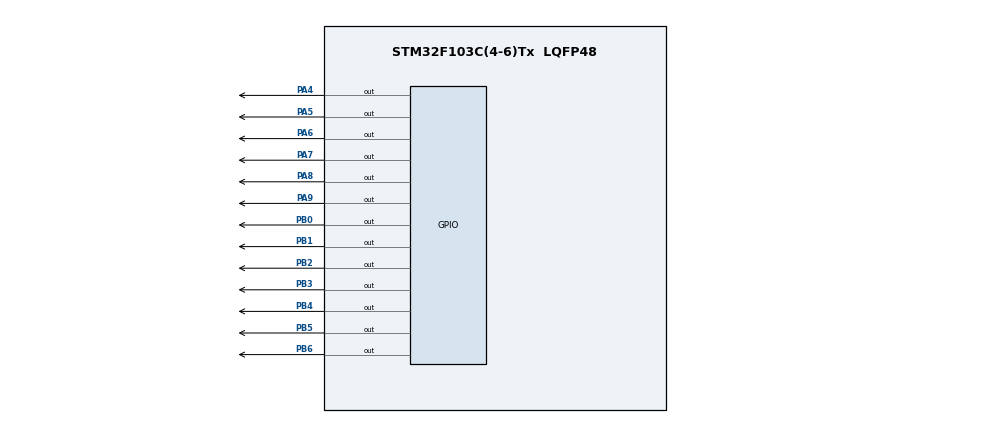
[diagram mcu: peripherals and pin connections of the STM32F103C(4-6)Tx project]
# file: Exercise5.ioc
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Mcu.Family=STM32F1
Mcu.Name=STM32F103C(4-6)Tx
Mcu.Package=LQFP48
NVIC.PriorityGroup=NVIC_PRIORITYGROUP_4
NVIC.TIM2_IRQn=true\:0\:0\:false\:false\:true\:true\:true
PA13.Mode=Serial_Wire
PA13.Signal=SYS_JTMS-SWDIO
PA14.Mode=Serial_Wire
PA14.Signal=SYS_JTCK-SWCLK
PA4.Signal=GPIO_Output
PA5.Signal=GPIO_Output
PA6.Signal=GPIO_Output
PA7.Signal=GPIO_Output
PA8.Signal=GPIO_Output
PA9.Signal=GPIO_Output
PB0.Signal=GPIO_Output
PB1.Signal=GPIO_Output
PB2.Signal=GPIO_Output
PB3.Signal=GPIO_Output
PB4.Signal=GPIO_Output
PB5.Signal=GPIO_Output
PB6.Signal=GPIO_Output
PD0-OSC_IN.Mode=HSE-External-Oscillator
PD0-OSC_IN.Signal=RCC_OSC_IN
PD1-OSC_OUT.Mode=HSE-External-Oscillator
PD1-OSC_OUT.Signal=RCC_OSC_OUT
ProjectManager.HeapSize=0x200
ProjectManager.StackSize=0x400
ProjectManager.TargetToolchain=STM32CubeIDE
RCC.APB1Freq_Value=8000000
RCC.APB2Freq_Value=8000000
TIM2.Period=9
TIM2.Prescaler=7999
VP_TIM2_VS_ClockSourceINT.Mode=Internal
board=custom

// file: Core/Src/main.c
/* USER CODE BEGIN Header */
/**
  ******************************************************************************
  * @file           : main.c
  * @brief          : Main program body
  ******************************************************************************
  * @attention
  *
  * <h2><center>&copy; Copyright (c) 2021 STMicroelectronics.
  * All rights reserved.</center></h2>
  *
  * This software component is licensed by ST under BSD 3-Clause license,
  * the "License"; You may not use this file except in compliance with the
  * License. You may obtain a copy of the License at:
  *                        opensource.org/licenses/BSD-3-Clause
  *
  ******************************************************************************
  */
/* USER CODE END Header */
#include "main.h"

TIM_HandleTypeDef htim2;

void SystemClock_Config(void);
static void MX_GPIO_Init(void);
static void MX_TIM2_Init(void);

/* USER CODE BEGIN 0 */
//g f e d c b a => PB6 PB5 PB4 PB3 PB2 PB1 PB0
int nums[10] = {
		0x40,				//0
		0x79, 				//1
		0x24,				//2
		0x30,				//3
		0x19,				//4
		0x12,				//5
		0x02,				//6
		0x70,				//7
		0x00,				//8
		0x10};				//9
//Số LED 7SEG tối đa
const int MAX_LED = 4;
//Mảng để ch�?n led nào hiển thị
int enable[4] = {0xE, 0xD, 0xB, 0x7};
//Mảng chứa số sẽ hiện trên các LED 7 SEG
int led_buffer[4] = {5, 2, 8, 9};
int hour = 15, minute = 8, second = 50;
//Hiển thị số trên LED 7 đoạn bằng bằng truy�?n vào số ở dãy nums
//Sau đó lấy từng bit rồi viết vào trong PIN
//Bằng cách dịch từng bit và and với 1;
void display7SEG(int count){
	HAL_GPIO_WritePin(GPIOB, GPIO_PIN_0, (count>>0 & 0x1));
	HAL_GPIO_WritePin(GPIOB, GPIO_PIN_1, (count>>1 & 0x1));
	HAL_GPIO_WritePin(GPIOB, GPIO_PIN_2, (count>>2 & 0x1));
	HAL_GPIO_WritePin(GPIOB, GPIO_PIN_3, (count>>3 & 0x1));
	HAL_GPIO_WritePin(GPIOB, GPIO_PIN_4, (count>>4 & 0x1));
	HAL_GPIO_WritePin(GPIOB, GPIO_PIN_5, (count>>5 & 0x1));
	HAL_GPIO_WritePin(GPIOB, GPIO_PIN_6, (count>>6 & 0x1));
}
//Hàm để chọn LED 7 đoạn nào được hiển thị
void setEnable(int num){
	HAL_GPIO_WritePin(GPIOA, GPIO_PIN_6, (num>>0 & 0x1));
	HAL_GPIO_WritePin(GPIOA, GPIO_PIN_7, (num>>1 & 0x1));
	HAL_GPIO_WritePin(GPIOA, GPIO_PIN_8, (num>>2 & 0x1));
	HAL_GPIO_WritePin(GPIOA, GPIO_PIN_9, (num>>3 & 0x1));
}
//Hàm update lại số hiển thị trên LED 7SEG và LED 7SEG nào được hiển thị
void update7SEG(int index){
	switch(index){
	case 0:
		display7SEG(nums[led_buffer[index]]);	//Hiển thị led_buffer[0] trên LED 7 SEG
		setEnable(enable[index]);				//Set enable 0 -> LED 7 SEG thứ 1 hoạt động
		break;
	case 1:
		display7SEG(nums[led_buffer[index]]);	//Hiển thị led_buffer[1] trên LED 7 SEG
		setEnable(enable[index]);				//Set enable 1 -> LED 7 SEG thứ 2 hoạt động
		break;
	case 2:
		display7SEG(nums[led_buffer[index]]);	//Hiển thị led_buffer[2] trên LED 7 SEG
		setEnable(enable[index]);				//Set enable 2 -> LED 7 SEG thứ 3 hoạt động
		break;
	case 3:
		display7SEG(nums[led_buffer[index]]); 	//Hiển thị led-buffer[3] trên LED 7 SEG
		setEnable(enable[index]);				//Set enable 3 -> LED 7 SEG thứ 4 hoạt động
		break;
	default:
		break;
	}
}

void updateClockBuffer(){
//	Update hour to led_buffer
//	Lấy con số hàng chục của hour
	led_buffer[0] = hour/10;
//	Lấy con số hàng đơn vị của hour
	led_buffer[1] = hour%10;
//	Update minute to led_buffer
//	Lấy con số hàng chục của minute
	led_buffer[2] = minute/10;
// Lấy con số hàng đơn vị của minute
	led_buffer[3] = minute%10;
}
/* USER CODE END 0 */

int main(void)
{

  /* MCU Configuration--------------------------------------------------------*/

  /* Reset of all peripherals, Initializes the Flash interface and the Systick. */
  HAL_Init();

  /* Configure the system clock */
  SystemClock_Config();

  /* Initialize all configured peripherals */
  MX_GPIO_Init();
  MX_TIM2_Init();
  /* USER CODE BEGIN 2 */

  HAL_TIM_Base_Start_IT(&htim2);

  /* USER CODE END 2 */

  /* Infinite loop */
  while (1)
  {

    /* USER CODE BEGIN 3 */
	  second++;
	  if(second >= 60){
		  second = 0;
		  minute++;
	  }
	  if(minute >= 60){
		  minute = 0;
		  hour++;
	  }
	  if(hour >= 24){
		  hour = 0;
	  }
	  updateClockBuffer();
	  HAL_Delay(1000);
  }
  /* USER CODE END 3 */
}

void SystemClock_Config(void)
{
  RCC_OscInitTypeDef RCC_OscInitStruct = {0};
  RCC_ClkInitTypeDef RCC_ClkInitStruct = {0};

  /** Initializes the RCC Oscillators according to the specified parameters
  * in the RCC_OscInitTypeDef structure.
  */
  RCC_OscInitStruct.OscillatorType = RCC_OSCILLATORTYPE_HSI;
  RCC_OscInitStruct.HSIState = RCC_HSI_ON;
  RCC_OscInitStruct.HSICalibrationValue = RCC_HSICALIBRATION_DEFAULT;
  RCC_OscInitStruct.PLL.PLLState = RCC_PLL_NONE;
  if (HAL_RCC_OscConfig(&RCC_OscInitStruct) != HAL_OK)
  {
    Error_Handler();
  }
  /** Initializes the CPU, AHB and APB buses clocks
  */
  RCC_ClkInitStruct.ClockType = RCC_CLOCKTYPE_HCLK|RCC_CLOCKTYPE_SYSCLK
                              |RCC_CLOCKTYPE_PCLK1|RCC_CLOCKTYPE_PCLK2;
  RCC_ClkInitStruct.SYSCLKSource = RCC_SYSCLKSOURCE_HSI;
  RCC_ClkInitStruct.AHBCLKDivider = RCC_SYSCLK_DIV1;
  RCC_ClkInitStruct.APB1CLKDivider = RCC_HCLK_DIV1;
  RCC_ClkInitStruct.APB2CLKDivider = RCC_HCLK_DIV1;

  if (HAL_RCC_ClockConfig(&RCC_ClkInitStruct, FLASH_LATENCY_0) != HAL_OK)
  {
    Error_Handler();
  }
}

static void MX_TIM2_Init(void)
{

  TIM_ClockConfigTypeDef sClockSourceConfig = {0};
  TIM_MasterConfigTypeDef sMasterConfig = {0};

  htim2.Instance = TIM2;
  htim2.Init.Prescaler = 7999;
  htim2.Init.CounterMode = TIM_COUNTERMODE_UP;
  htim2.Init.Period = 9;
  htim2.Init.ClockDivision = TIM_CLOCKDIVISION_DIV1;
  htim2.Init.AutoReloadPreload = TIM_AUTORELOAD_PRELOAD_DISABLE;
  if (HAL_TIM_Base_Init(&htim2) != HAL_OK)
  {
    Error_Handler();
  }
  sClockSourceConfig.ClockSource = TIM_CLOCKSOURCE_INTERNAL;
  if (HAL_TIM_ConfigClockSource(&htim2, &sClockSourceConfig) != HAL_OK)
  {
    Error_Handler();
  }
  sMasterConfig.MasterOutputTrigger = TIM_TRGO_RESET;
  sMasterConfig.MasterSlaveMode = TIM_MASTERSLAVEMODE_DISABLE;
  if (HAL_TIMEx_MasterConfigSynchronization(&htim2, &sMasterConfig) != HAL_OK)
  {
    Error_Handler();
  }

}

static void MX_GPIO_Init(void)
{
  GPIO_InitTypeDef GPIO_InitStruct = {0};

  /* GPIO Ports Clock Enable */
  __HAL_RCC_GPIOD_CLK_ENABLE();
  __HAL_RCC_GPIOA_CLK_ENABLE();
  __HAL_RCC_GPIOB_CLK_ENABLE();

  /*Configure GPIO pin Output Level */
  HAL_GPIO_WritePin(GPIOA, GPIO_PIN_4|GPIO_PIN_5|GPIO_PIN_6|GPIO_PIN_7
                          |GPIO_PIN_8|GPIO_PIN_9, GPIO_PIN_RESET);

  /*Configure GPIO pin Output Level */
  HAL_GPIO_WritePin(GPIOB, GPIO_PIN_0|GPIO_PIN_1|GPIO_PIN_2|GPIO_PIN_3
                          |GPIO_PIN_4|GPIO_PIN_5|GPIO_PIN_6, GPIO_PIN_RESET);

  /*Configure GPIO pins : PA4 PA5 PA6 PA7
                           PA8 PA9 */
  GPIO_InitStruct.Pin = GPIO_PIN_4|GPIO_PIN_5|GPIO_PIN_6|GPIO_PIN_7
                          |GPIO_PIN_8|GPIO_PIN_9;
  GPIO_InitStruct.Mode = GPIO_MODE_OUTPUT_PP;
  GPIO_InitStruct.Pull = GPIO_NOPULL;
  GPIO_InitStruct.Speed = GPIO_SPEED_FREQ_LOW;
  HAL_GPIO_Init(GPIOA, &GPIO_InitStruct);

  /*Configure GPIO pins : PB0 PB1 PB2 PB3
                           PB4 PB5 PB6 */
  GPIO_InitStruct.Pin = GPIO_PIN_0|GPIO_PIN_1|GPIO_PIN_2|GPIO_PIN_3
                          |GPIO_PIN_4|GPIO_PIN_5|GPIO_PIN_6;
  GPIO_InitStruct.Mode = GPIO_MODE_OUTPUT_PP;
  GPIO_InitStruct.Pull = GPIO_NOPULL;
  GPIO_InitStruct.Speed = GPIO_SPEED_FREQ_LOW;
  HAL_GPIO_Init(GPIOB, &GPIO_InitStruct);

}

/* USER CODE BEGIN 4 */
int counter = 100, index_led = 0;
void HAL_TIM_PeriodElapsedCallback(TIM_HandleTypeDef *htim){
	counter--;
	if(counter <= 0){
		counter = 100	;
		HAL_GPIO_TogglePin(GPIOA, GPIO_PIN_5);
		HAL_GPIO_TogglePin(GPIOA, GPIO_PIN_4);
		update7SEG(index_led++);
		if(index_led > 3) index_led = 0;
	}
}

/* USER CODE END 4 */

void Error_Handler(void)
{
  __disable_irq();
  while (1)
  {
  }
}

/************************ (C) COPYRIGHT STMicroelectronics *****END OF FILE****/
